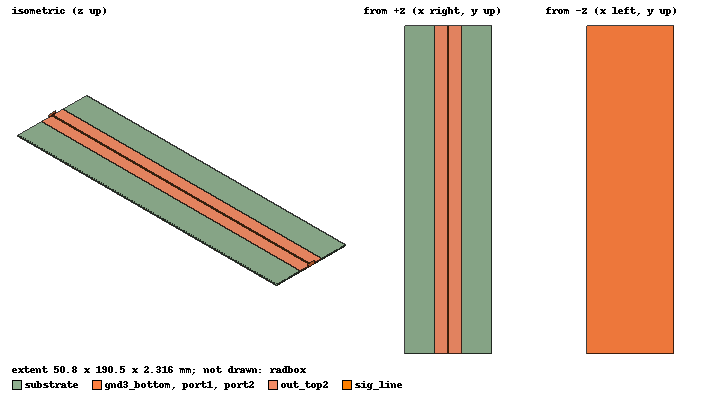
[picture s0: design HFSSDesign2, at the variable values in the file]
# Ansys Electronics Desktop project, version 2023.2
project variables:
  $w = 50.8mm
  $l = 190.5mm
  $w_lin = 0.53789169mm  # optimise 0.52mm..1.56mm
  $h_sig = 0.03556mm
  $w_gnd_top = 5mm
  $d = 0.11434763mm  # optimise 0.2mm..0.6mm
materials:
  vacuum: permittivity=1
  FR4_epoxy: permittivity=4.4 dielectric_loss_tangent=0.02
  air: permittivity=1.0006 permeability=1.0000004
  rhodium: conductivity=22200000
  Rogers RO4350 (tm): permittivity=3.66 dielectric_loss_tangent=0.004
  copper: permeability=0.999991 conductivity=58000000

design HFSSDesign2 (HFSS, HFSS Modal Network, model units mm)
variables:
  w = 50.8mm
  l = 190.5mm
  h_sub = 0.508mm
  h_gnd3 = 0.03556mm
  w_lin = 1.04mm
  h_sig = 0.03556mm
  w_gnd_top = 7.5mm
  h_ges = h_gnd3+h_sig+h_sub
  pos_gnd1 = w/2-$w_lin/2-$d-w_gnd_top
  pos_lin = w/2-$w_lin/2
  pos_gnd2 = w/2+$w_lin/2+$d
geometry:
  radbox [air] = box(corner=(-15mm, 0mm, -15mm), size=(w+30mm, l, h_ges+30mm))
  gnd3_bottom [copper] = box(corner=(0mm, 0mm, 0mm), size=(w, l, h_gnd3))
  substrate [Rogers RO4350 (tm)] = box(corner=(0mm, 0mm, h_gnd3), size=(w, l, h_sub))
  line = box(corner=(pos_lin, 0mm, h_gnd3+h_sub), size=($w_lin, l-0.459mm, h_sig))
  gnd1_top = box(corner=(pos_gnd1, 0mm, h_gnd3+h_sub), size=(w_gnd_top, l, h_sig))
  gnd2_top = box(corner=(pos_gnd2, 0mm, h_gnd3+h_sub), size=(w_gnd_top, l, h_sig))
  port1 = rectangle(corner=(w/2-$w_lin*5, 0mm, 0mm), z_size=h_ges*4, x_size=$w_lin*10)
  port2 = rectangle(corner=(w/2-$w_lin*5, l, 0mm), z_size=h_ges*4, x_size=$w_lin*10)
  gnd1_top.unite(gnd2_top)
  via1 [copper] = cylinder(axis=Z, base_centre=(23.32mm, 2mm, h_gnd3), radius=0.2mm, height=h_sub)
  via1_1..via1_78 [copper] = via1.duplicate_along_line(step=(0mm, 2.4mm, 0mm), total=300)  # copies kept: 1..78
  via2 [copper] = cylinder(axis=Z, base_centre=(27.48mm, 2mm, h_gnd3), radius=0.2mm, height=h_sub)
  via2_1..via2_78 [copper] = via2.duplicate_along_line(step=(0mm, 2.4mm, 0mm), total=79)
  gnd_top = polyline(z=h_gnd3+h_sub, xy in mm: (25.491, 0) (25.016, 0.679) (25.016, 0) (25.491, 0), closed, covered)
  gnd_top.thicken(h_sig)
  gnd_top.unite(gnd1_top)
  Polyline2 = polyline(z=h_gnd3+h_sub, xy in mm: (26.052, 0) (25.783, 0.74) (25.783, 0) (26.052, 0), closed, covered)
  Polyline2.thicken(h_sig)
  gnd_top.subtract(Polyline2)
  sig_line [copper] = polyline(z=h_gnd3+h_sub+h_sig, xy in mm: (25.931, 0) (25.631, 0) (25.131, 0.714) (25.669, 0.714) (25.931, 0), closed, covered)
  sig_line.thicken(h_sig)
  sig_line.unite(line)
  Polyline4 = polyline(z=h_gnd3+h_sub, xy in mm: (25.631, 0) (25.131, 0.714) (25.131, 0) (25.631, 0), closed, covered)
  Polyline4.thicken(h_sig)
  sig_line.subtract(Polyline4)
  coordinate_system RelativeCS1 = origin=(50.8mm, 0mm, 0.54356mm) x=(0mm, 190.5mm, 0mm) y=(-50.8mm, 0mm, 0mm)
  trans_out = polyline(z=0mm, xy in mm: (9.507, 25.66884) (9.966, 25.43085) (9.966, 25.13105) (9.507, 25.13105) (9.507, 25.66884), closed, covered) in RelativeCS1
  trans_out.thicken(h_sig)
  trans_out.move(180.534mm, 4.1533549e-06mm, 0.03556mm) in RelativeCS1
  trans_out_top = polyline(z=0mm, xy in mm: (9.83549, 25.78605) (9.53825, 25.78605) (9.83549, 25.63105) (9.83549, 25.78605), closed, covered) in RelativeCS1
  trans_out_top.thicken(h_sig)
  trans_out_top.move(180.50275mm, -0.0027565223mm, 0mm) in RelativeCS1
  out_top2 [copper] = rectangle(corner=(190.33824mm, 25.628293mm, 0mm), x_size=0.16176mm, y_size=0.155mm) in RelativeCS1
  out_top2.thicken(h_sig)
  sig_line.unite(trans_out)
  out_top2.unite(trans_out_top, gnd_top)
  out_bot = polyline(z=0mm, xy in mm: (9.835, 25.01669) (9.9993, 25.01669) (9.9993, 24.931) (9.835, 25.01669), closed, covered) in RelativeCS1
  out_bot.thicken(h_sig)
  out_bot.move(180.5007mm, 1.6522288e-05mm, 0.03556mm) in RelativeCS1
  out_top2.subtract(out_bot)
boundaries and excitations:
  Rad1: Radiation Objects=radbox
  1: Wave Port Objects=port1 WavePortType=Modal NumModes=1 Modes{Mode1{CharImp=Zpi RenormImp=50ohm}}
  2: Wave Port Objects=port2 WavePortType=Modal NumModes=1 Modes{Mode1{CharImp=Zpi RenormImp=50ohm}}
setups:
  Setup1: HfssDriven Frequency=10GHz MaxDeltaS=0.02 MaximumPasses=20 MinimumPasses=1 MinimumConvergedPasses=1 PercentRefinement=30 BasisOrder=1 PortAccuracy=2 DrivenSolverType="Direct Solver"
    sweep Sweep_fast: 10GHz to 20GHz step 0.3GHz; Type=Discrete
    sweep Sweep: 1GHz to 20GHz step 0.1GHz; Type=Discrete
    sweep Sweep_fine: 0.01GHz to 20GHz step 0.01GHz; Type=Discrete
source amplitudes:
  1:1: 1W 0deg
  2:1: 0W 0deg
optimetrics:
  OptimizationSetup2: Optimization Optimizer="Quasi Newton" AnalysisStopOptions{StopForNumIteration MaxNumIteration=1000 MinNumIteration=10} CostFuncNormType=L2 Acceptable_Cost=0 Noise=0.0001 UpdateDesignWhenDone
    vary $d: Min=0.1mm Max=0.6mm MinStep=0.004mm MaxStep=0.04mm MinFocus=0.2mm MaxFocus=0.6mm start=0.125mm
    vary $w_lin: Min=0.3556mm Max=1.56mm MinStep=0.0104mm MaxStep=0.104mm MinFocus=0.52mm MaxFocus=1.56mm start=0.56704mm
    goal dB(S(1,1)) <= -30 weight 0.5 on Setup1 : Sweep_fast at Freq 1GHz to 20GHz
    goal dB(S(2,2)) <= -30 weight 0.5 on Setup1 : Sweep_fast at Freq 1GHz to 20GHz
    goal mag(Zo(1)) == 50 weight 1 on Setup1 : Sweep_fast at Freq 10GHz to 19.9GHz
    goal re(Zo(2)) == 50 weight 1 on Setup1 : Sweep_fast at Freq 10GHz to 19.9GHz
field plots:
  Mag_E1: E Field in substrate on Setup1 : LastAdaptive at Freq=10GHz Phase=0deg
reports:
  S Parameter Plot 1: dB(S(1,1)), dB(S(2,1)), dB(S(1,2)), dB(S(2,2)) vs Freq on Setup1 : Sweep
  Port Zo Plot 1: mag(Zo(1)), mag(Zo(2)) vs Freq on Setup1 : Sweep
  S Parameter Plot fine: dB(S(1,1)), dB(S(2,1)), dB(S(1,2)), dB(S(2,2)) vs Freq on Setup1 : Sweep_fine; markers m1 at 19.11GHz, m2 at 19.14GHz
